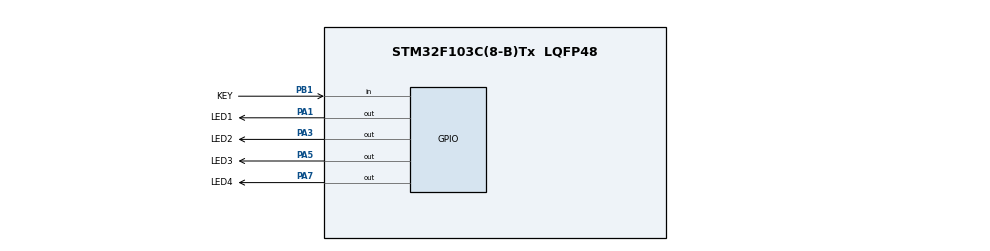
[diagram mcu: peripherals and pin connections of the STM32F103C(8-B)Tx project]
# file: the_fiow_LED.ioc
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Mcu.Family=STM32F1
Mcu.Name=STM32F103C(8-B)Tx
Mcu.Package=LQFP48
NVIC.PriorityGroup=NVIC_PRIORITYGROUP_4
PA1.GPIO_Label=LED1
PA1.PinState=GPIO_PIN_SET
PA1.Signal=GPIO_Output
PA13.Mode=Serial_Wire
PA13.Signal=SYS_JTMS-SWDIO
PA14.Mode=Serial_Wire
PA14.Signal=SYS_JTCK-SWCLK
PA3.GPIO_Label=LED2
PA3.PinState=GPIO_PIN_SET
PA3.Signal=GPIO_Output
PA5.GPIO_Label=LED3
PA5.PinState=GPIO_PIN_SET
PA5.Signal=GPIO_Output
PA7.GPIO_Label=LED4
PA7.PinState=GPIO_PIN_SET
PA7.Signal=GPIO_Output
PB1.GPIO_Label=KEY
PB1.GPIO_PuPd=GPIO_PULLUP
PB1.Signal=GPIO_Input
ProjectManager.HeapSize=0x200
ProjectManager.StackSize=0x400
ProjectManager.TargetToolchain=CMake
RCC.APB1Freq_Value=8000000
RCC.APB2Freq_Value=8000000
board=custom

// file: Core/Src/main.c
/* USER CODE BEGIN Header */
/**
  ******************************************************************************
  * @file           : main.c
  * @brief          : Main program body
  ******************************************************************************
  * @attention
  *
  * Copyright (c) 2026 STMicroelectronics.
  * All rights reserved.
  *
  * This software is licensed under terms that can be found in the LICENSE file
  * in the root directory of this software component.
  * If no LICENSE file comes with this software, it is provided AS-IS.
  *
  ******************************************************************************
  */
/* USER CODE END Header */
#include "main.h"

/* USER CODE BEGIN PD */
/* 本工程引脚已由 CubeMX 在 main.h 中生成：
   LED1~LED4 -> PA1/PA3/PA5/PA7，KEY -> PB1（内部上拉输入，按下为低电平）。
   这里不再重复定义引脚，只补充流水灯逻辑需要的常量，避免与 CubeMX 配置冲突。 */
#define LED_PORT       GPIOA
#define LED_COUNT      4

/* LED 极性：LED 阳极接引脚、阴极接地，输出高电平点亮 */
#define LED_ON         GPIO_PIN_SET
#define LED_OFF        GPIO_PIN_RESET
/* USER CODE END PD */

/* USER CODE BEGIN PV */
static const uint16_t LED_PINS[LED_COUNT] = {LED1_Pin, LED2_Pin, LED3_Pin, LED4_Pin};

uint8_t current_led = 0;
uint8_t direction = 0;
/* USER CODE END PV */

void SystemClock_Config(void);
static void MX_GPIO_Init(void);

int main(void)
{

  /* MCU Configuration--------------------------------------------------------*/

  /* Reset of all peripherals, Initializes the Flash interface and the Systick. */
  HAL_Init();

  /* Configure the system clock */
  SystemClock_Config();

  /* Initialize all configured peripherals */
  MX_GPIO_Init();
  /* USER CODE BEGIN 2 */

  HAL_GPIO_WritePin(LED_PORT,LED1_Pin | LED2_Pin | LED3_Pin | LED4_Pin,LED_OFF);
  current_led = 0;
  direction = 0;
  /* USER CODE END 2 */

  /* Infinite loop */
  while (1)
  {

    /* USER CODE BEGIN 3 */
    if (HAL_GPIO_ReadPin(KEY_GPIO_Port, KEY_Pin) == GPIO_PIN_RESET)
    {
      HAL_Delay(20);
      if (HAL_GPIO_ReadPin(KEY_GPIO_Port, KEY_Pin) == GPIO_PIN_RESET)
      {
        direction = (direction == 0) ? 1 : 0;

        while (HAL_GPIO_ReadPin(KEY_GPIO_Port, KEY_Pin) == GPIO_PIN_RESET)
        {
        }
      }
    }

    HAL_GPIO_WritePin(LED_PORT, LED_PINS[current_led], LED_OFF);

    if (direction == 0)
    {
      current_led = (current_led + 1) % LED_COUNT;
    }
    else
    {

      current_led = (current_led == 0) ? (LED_COUNT - 1) : (current_led - 1);
    }

    HAL_GPIO_WritePin(LED_PORT, LED_PINS[current_led], LED_ON);

    HAL_Delay(200);
  }
  /* USER CODE END 3 */
}

void SystemClock_Config(void)
{
  RCC_OscInitTypeDef RCC_OscInitStruct = {0};
  RCC_ClkInitTypeDef RCC_ClkInitStruct = {0};

  /** Initializes the RCC Oscillators according to the specified parameters
  * in the RCC_OscInitTypeDef structure.
  */
  RCC_OscInitStruct.OscillatorType = RCC_OSCILLATORTYPE_HSI;
  RCC_OscInitStruct.HSIState = RCC_HSI_ON;
  RCC_OscInitStruct.HSICalibrationValue = RCC_HSICALIBRATION_DEFAULT;
  RCC_OscInitStruct.PLL.PLLState = RCC_PLL_NONE;
  if (HAL_RCC_OscConfig(&RCC_OscInitStruct) != HAL_OK)
  {
    Error_Handler();
  }

  /** Initializes the CPU, AHB and APB buses clocks
  */
  RCC_ClkInitStruct.ClockType = RCC_CLOCKTYPE_HCLK|RCC_CLOCKTYPE_SYSCLK
                              |RCC_CLOCKTYPE_PCLK1|RCC_CLOCKTYPE_PCLK2;
  RCC_ClkInitStruct.SYSCLKSource = RCC_SYSCLKSOURCE_HSI;
  RCC_ClkInitStruct.AHBCLKDivider = RCC_SYSCLK_DIV1;
  RCC_ClkInitStruct.APB1CLKDivider = RCC_HCLK_DIV1;
  RCC_ClkInitStruct.APB2CLKDivider = RCC_HCLK_DIV1;

  if (HAL_RCC_ClockConfig(&RCC_ClkInitStruct, FLASH_LATENCY_0) != HAL_OK)
  {
    Error_Handler();
  }
}

static void MX_GPIO_Init(void)
{
  GPIO_InitTypeDef GPIO_InitStruct = {0};

  /* GPIO Ports Clock Enable */
  __HAL_RCC_GPIOA_CLK_ENABLE();
  __HAL_RCC_GPIOB_CLK_ENABLE();

  /*Configure GPIO pin Output Level */
  HAL_GPIO_WritePin(GPIOA, LED1_Pin|LED2_Pin|LED3_Pin|LED4_Pin, GPIO_PIN_SET);

  /*Configure GPIO pins : LED1_Pin LED2_Pin LED3_Pin LED4_Pin */
  GPIO_InitStruct.Pin = LED1_Pin|LED2_Pin|LED3_Pin|LED4_Pin;
  GPIO_InitStruct.Mode = GPIO_MODE_OUTPUT_PP;
  GPIO_InitStruct.Pull = GPIO_NOPULL;
  GPIO_InitStruct.Speed = GPIO_SPEED_FREQ_LOW;
  HAL_GPIO_Init(GPIOA, &GPIO_InitStruct);

  /*Configure GPIO pin : KEY_Pin */
  GPIO_InitStruct.Pin = KEY_Pin;
  GPIO_InitStruct.Mode = GPIO_MODE_INPUT;
  GPIO_InitStruct.Pull = GPIO_PULLUP;
  HAL_GPIO_Init(KEY_GPIO_Port, &GPIO_InitStruct);

}

void Error_Handler(void)
{
  __disable_irq();
  while (1)
  {
  }
}
